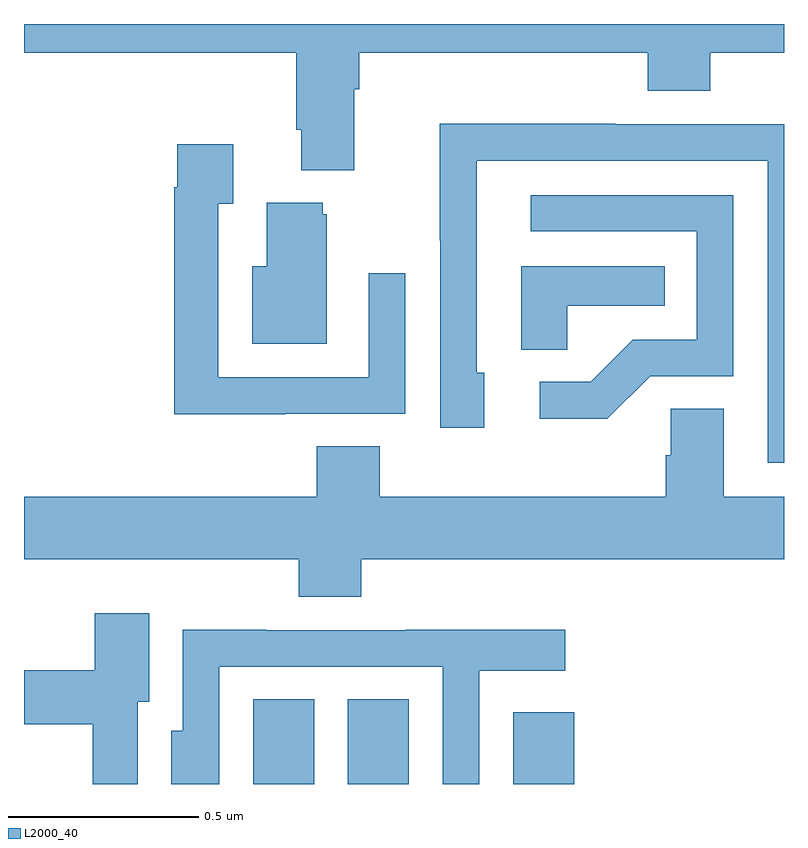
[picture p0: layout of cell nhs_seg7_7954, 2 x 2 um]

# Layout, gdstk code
import gdstk
lib = gdstk.Library(unit=1e-6, precision=1e-09)
def R(c, l, rs):  # rectangles x0, y0, x1, y1
    for r in rs: c.add(gdstk.rectangle(r[:2], r[2:], *l))
def P(c, l, *ps):  # polygons
    for p in ps: c.add(gdstk.Polygon(p, *l))
L2000_40 = (2000, 40)

nhs_seg7_7954 = lib.new_cell('nhs_seg7_7954')
R(nhs_seg7_7954, L2000_40, [(218.603,1024,218.764,1024.223), (218.852,1024,219.013,1024.223), (219.287,1024,219.448,1024.189)])
P(nhs_seg7_7954, L2000_40, [(218,1025.924),(218.717,1025.924),(218.717,1025.722),(218.729,1025.722),(218.729,1025.615),(218.869,1025.615),(218.869,1025.828),(218.882,1025.828),(218.882,1025.924),(219.641,1025.924),(219.641,1025.825),(219.806,1025.825),(219.806,1025.924),(220,1025.924),(220,1026),(218,1026)],
  [(220,1025.736),(219.557,1025.736),(219.557,1025.738),(219.094,1025.738),(219.094,1025.431),(219.096,1025.431),(219.096,1024.938),(219.211,1024.938),(219.211,1025.082),(219.192,1025.082),(219.192,1025.64),(219.957,1025.64),(219.957,1024.845),(220,1024.845)],
  [(218.687,1024.974),(219.003,1024.974),(219.003,1025.344),(218.907,1025.344),(218.907,1025.07),(218.511,1025.07),(218.511,1025.527),(218.551,1025.527),(218.551,1025.683),(218.403,1025.683),(218.403,1025.57),(218.395,1025.57),(218.395,1024.973),(218.687,1024.973)],
  [(219.648,1025.073),(219.867,1025.073),(219.867,1025.55),(219.333,1025.55),(219.333,1025.454),(219.771,1025.454),(219.771,1025.169),(219.602,1025.169),(219.491,1025.058),(219.357,1025.058),(219.357,1024.961),(219.535,1024.961)],
  [(218.797,1025.499),(218.786,1025.499),(218.786,1025.53),(218.639,1025.53),(218.639,1025.362),(218.6,1025.362),(218.6,1025.159),(218.797,1025.159)],
  [(219.429,1025.258),(219.686,1025.258),(219.686,1025.362),(219.308,1025.362),(219.308,1025.143),(219.429,1025.143)],
  [(218.888,1024.592),(220,1024.592),(220,1024.756),(219.841,1024.756),(219.841,1024.988),(219.702,1024.988),(219.702,1024.865),(219.689,1024.865),(219.689,1024.756),(218.936,1024.756),(218.936,1024.889),(218.771,1024.889),(218.771,1024.756),(218,1024.756),(218,1024.592),(218.723,1024.592),(218.723,1024.493),(218.888,1024.493)],
  [(218.299,1024.217),(218.329,1024.217),(218.329,1024.45),(218.186,1024.45),(218.186,1024.299),(218,1024.299),(218,1024.157),(218.181,1024.157),(218.181,1024),(218.299,1024)],
  [(218.514,1024.308),(219.102,1024.308),(219.102,1024),(219.198,1024),(219.198,1024.298),(219.424,1024.298),(219.424,1024.406),(219.005,1024.406),(219.005,1024.404),(218.639,1024.404),(218.639,1024.406),(218.418,1024.406),(218.418,1024.14),(218.387,1024.14),(218.387,1024),(218.514,1024)])

lib.write_gds('nhs_seg7_7954.gds')
